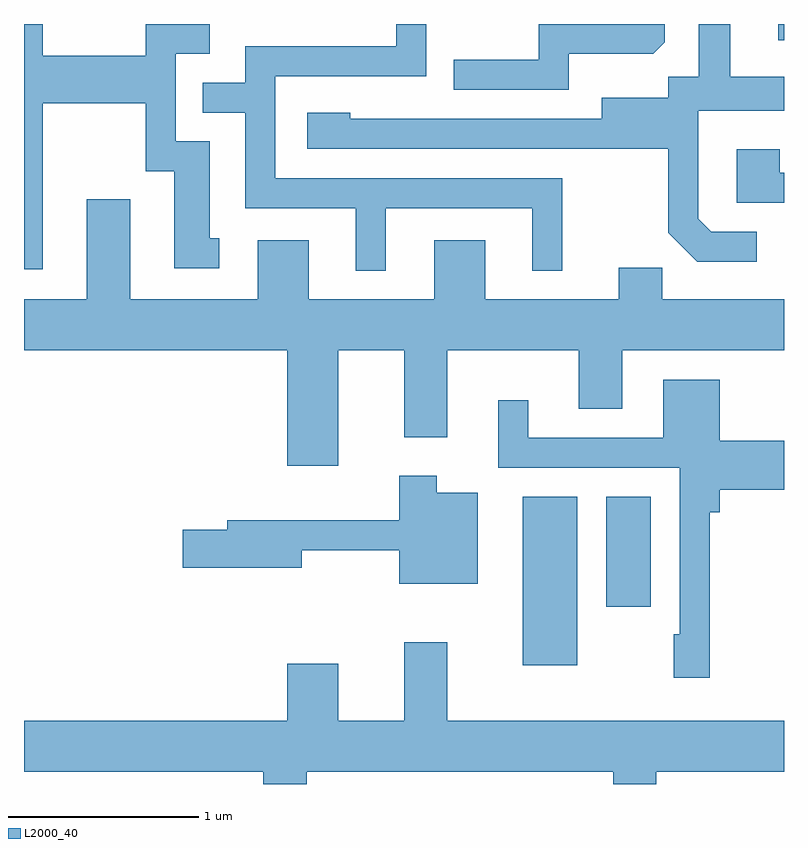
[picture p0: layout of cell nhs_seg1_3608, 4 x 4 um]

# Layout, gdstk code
import gdstk
lib = gdstk.Library(unit=1e-6, precision=1e-09)
def R(c, l, rs):  # rectangles x0, y0, x1, y1
    for r in rs: c.add(gdstk.rectangle(r[:2], r[2:], *l))
def P(c, l, *ps):  # polygons
    for p in ps: c.add(gdstk.Polygon(p, *l))
L2000_40 = (2000, 40)

nhs_seg1_3608 = lib.new_cell('nhs_seg1_3608')
R(nhs_seg1_3608, L2000_40, [(296.236,922.336,296.524,923.224), (296.676,922.646,296.909,923.224), (297.581,925.626,297.611,925.712)])
P(nhs_seg1_3608, L2000_40, [(293.709,925.296),(294.251,925.296),(294.251,924.936),(294.401,924.936),(294.401,924.426),(294.638,924.426),(294.638,924.584),(294.589,924.584),(294.589,925.094),(294.409,925.094),(294.409,925.556),(294.589,925.556),(294.589,925.712),(294.251,925.712),(294.251,925.544),(293.709,925.544),(293.709,925.712),(293.611,925.712),(293.611,924.421),(293.709,924.421)],
  [(295.514,924.741),(296.286,924.741),(296.286,924.413),(296.444,924.413),(296.444,924.899),(294.934,924.899),(294.934,925.436),(295.729,925.436),(295.729,925.712),(295.571,925.712),(295.571,925.594),(294.776,925.594),(294.776,925.404),(294.553,925.404),(294.553,925.246),(294.776,925.246),(294.776,924.741),(295.356,924.741),(295.356,924.413),(295.514,924.413)],
  [(297.468,924.619),(297.227,924.619),(297.159,924.687),(297.159,925.256),(297.611,925.256),(297.611,925.434),(297.329,925.434),(297.329,925.712),(297.161,925.712),(297.161,925.434),(297.001,925.434),(297.001,925.324),(296.651,925.324),(296.651,925.214),(295.329,925.214),(295.329,925.244),(295.101,925.244),(295.101,925.056),(297.001,925.056),(297.001,924.614),(297.154,924.461),(297.468,924.461)],
  [(296.479,925.556),(296.924,925.556),(296.984,925.617),(296.984,925.712),(296.321,925.712),(296.321,925.524),(295.873,925.524),(295.873,925.366),(296.479,925.366)],
  [(297.611,924.929),(297.589,924.929),(297.589,925.054),(297.361,925.054),(297.361,924.771),(297.611,924.771)],
  [(295.264,923.996),(295.611,923.996),(295.611,923.536),(295.839,923.536),(295.839,923.996),(296.531,923.996),(296.531,923.686),(296.759,923.686),(296.759,923.996),(297.611,923.996),(297.611,924.264),(296.969,924.264),(296.969,924.429),(296.741,924.429),(296.741,924.264),(296.039,924.264),(296.039,924.574),(295.771,924.574),(295.771,924.264),(295.109,924.264),(295.109,924.574),(294.841,924.574),(294.841,924.264),(294.169,924.264),(294.169,924.789),(293.941,924.789),(293.941,924.264),(293.611,924.264),(293.611,923.996),(294.996,923.996),(294.996,923.386),(295.264,923.386)],
  [(297.219,923.141),(297.274,923.141),(297.274,923.261),(297.611,923.261),(297.611,923.519),(297.274,923.519),(297.274,923.839),(296.976,923.839),(296.976,923.534),(296.264,923.534),(296.264,923.733),(296.106,923.733),(296.106,923.376),(297.061,923.376),(297.061,922.499),(297.031,922.499),(297.031,922.271),(297.219,922.271)],
  [(295.999,923.244),(295.784,923.244),(295.784,923.334),(295.586,923.334),(295.586,923.099),(294.681,923.099),(294.681,923.049),(294.446,923.049),(294.446,922.851),(295.074,922.851),(295.074,922.941),(295.586,922.941),(295.586,922.766),(295.999,922.766)],
  [(295.099,921.776),(296.711,921.776),(296.711,921.712),(296.939,921.712),(296.939,921.776),(297.611,921.776),(297.611,922.044),(295.839,922.044),(295.839,922.459),(295.611,922.459),(295.611,922.044),(295.264,922.044),(295.264,922.344),(294.996,922.344),(294.996,922.044),(293.611,922.044),(293.611,921.776),(294.871,921.776),(294.871,921.712),(295.099,921.712)])

lib.write_gds('nhs_seg1_3608.gds')
